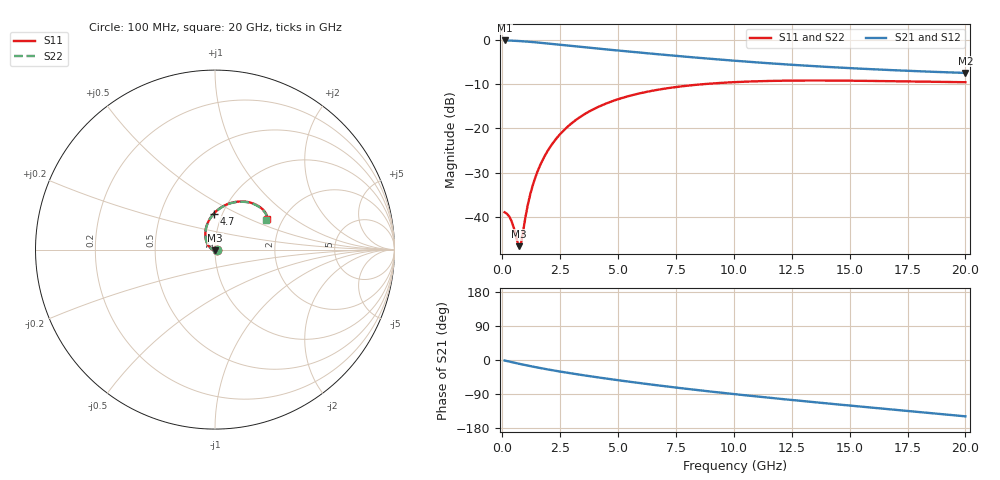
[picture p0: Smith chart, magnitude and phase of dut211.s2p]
! Touchstone file exported from HFSS 2024.1.0
!  File:  C:/UserFiles/LocalFiles/RDL_TSV_Batchsim/temp_RDL_TSV_211_1779446440.aedt
!  Generated:  06:56:06 PM May 22, 2026
!  Design:  RDL_TSV
!  Project:  temp_RDL_TSV_211_1779446440
!  Setup:  Setup1
!  Solution:  Sweep
! Variables:
!  dtsv = 10.02um
!  hbump = 3um
!  htsv = 83.8um
!  ldown = 103.83um
!  lrdl = 370.17um
!  p = 40
!  p1 = 47.9um
!  rhole = 10um
!  subl = 1792.17um
!  t = 450um
!  tdown = 2.72um
!  trdl = 4.17um
!  viad = 10um
!  wdown = 21.81um
!  wrdl = 14.33um
!  xbump = 18um
# GHz S MA R 50.000000
! Terminal data exported
! Port[1] = TM1_1_T1
! Port[2] = TM1_4_T1
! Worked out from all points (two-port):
!   200 points, 100 MHz to 20 GHz, reference 50 ohm
!   highest |S21| = -0.10 dB at 100 MHz (marker M1); lowest = -7.4 dB at 20 GHz (marker M2)
!   |S21| within 3 dB of the highest: start of sweep to 6.475 GHz
!   lowest |S11| = -46.6 dB at 700 MHz (marker M3), VSWR 1.01, Z = 50.1 - j0.462 ohm
!   |S11| at or under -10 dB: start of sweep to 8.653 GHz
!   |S22| runs from -46.6 to -9.2 dB; largest |S21 - S12| = 8.9e-15
!   S11 on the Smith chart (normalised r, x): 100 MHz: 1.02, -0.00; 4.7 GHz: 0.91, +0.38; 20 GHz: 1.66, +0.63
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0.1  0.01127 -4.4  0.9882 -1.4  0.9882 -1.4  0.01127 -4.4
! Gamma 0 0 0 0
! Port Impedance 50 0 50 0
0.3  0.0101 -15.8  0.9855 -4.2  0.9855 -4.2  0.01011 -15.8
0.4  0.008958 -23.7  0.9833 -5.6  0.9833 -5.6  0.00897 -23.7
0.5  0.007495 -34.7  0.9807 -6.9  0.9807 -6.9  0.007513 -34.6
0.7  0.004666 -80.9  0.9745 -9.6  0.9745 -9.6  0.004684 -80.6
0.8  0.004871 -121.2  0.9708 -10.9  0.9708 -10.9  0.004864 -120.6
1.1  0.01361 -180.0  0.958 -14.8  0.958 -14.8  0.01353 -179.8
1.3  0.02205 166.3  0.9482 -17.2  0.9482 -17.2  0.02194 166.4
1.5  0.03153 157.0  0.9379 -19.6  0.9379 -19.6  0.03138 157.0
1.7  0.04174 149.6  0.927 -21.9  0.927 -21.9  0.04155 149.6
2.1  0.06359 137.7  0.9048 -26.4  0.9048 -26.4  0.06332 137.7
2.5  0.08634 128.0  0.8827 -30.5  0.8827 -30.5  0.08598 128.0
3  0.1148 117.7  0.8558 -35.5  0.8558 -35.5  0.1143 117.7
3.5  0.1422 108.9  0.8302 -40.2  0.8302 -40.2  0.1416 108.8
4.7  0.2011 91.8  0.7734 -50.8  0.7734 -50.8  0.2002 91.8
5.7  0.2412 80.7  0.7305 -59.0  0.7305 -59.0  0.2402 80.7
6.8  0.2762 70.7  0.6872 -67.6  0.6872 -67.6  0.2749 70.6
8.4  0.312 59.2  0.6314 -79.2  0.6314 -79.2  0.3105 59.1
10.1  0.3346 49.8  0.5811 -90.6  0.5811 -90.6  0.333 49.7
13.4  0.3485 37.7  0.5074 -110.9  0.5074 -110.9  0.3467 37.7
16.7  0.3422 31.7  0.4579 -129.9  0.4579 -129.9  0.3404 31.6
20  0.3332 30.4  0.4242 -148.7  0.4242 -148.7  0.3314 30.3
